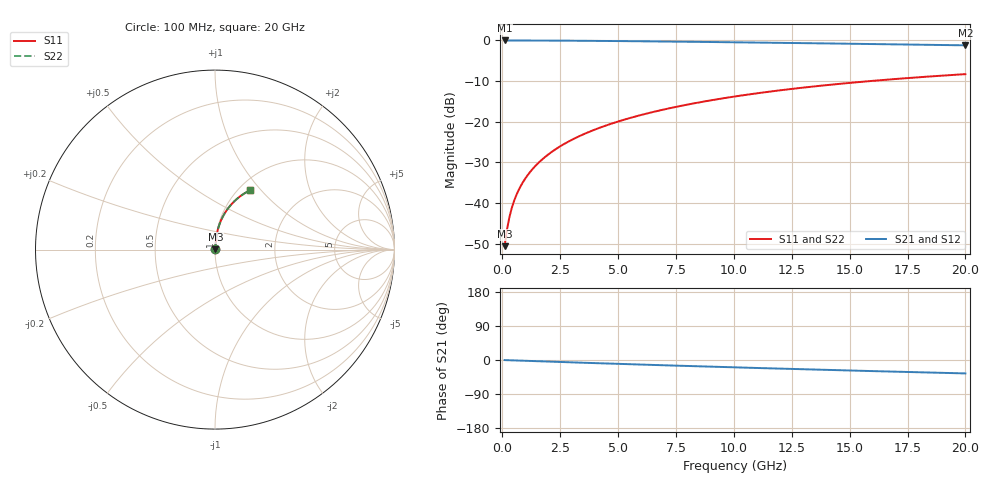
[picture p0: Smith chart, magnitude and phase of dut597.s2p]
! Touchstone file exported from HFSS 2024.1.0
!  File:  C:/UserFiles/LocalFiles/RDL_TSV_Batchsim/temp_RDL_top_597_1779682729.aedt
!  Generated:  12:21:17 PM May 25, 2026
!  Design:  RDL_top
!  Project:  temp_RDL_top_597_1779682729
!  Setup:  Setup1
!  Solution:  Sweep
! Variables:
!  dtsv = 10.80580581um
!  hbump = 3um
!  htsv = 62.18um
!  ldown = 100um
!  lrdl = 450.6um
!  p = 40
!  p1 = 57.33um
!  rhole = 1um
!  t = 450um
!  tdown = 3.915915916um
!  trdl = 4.53um
!  wdown = 15.38538539um
!  wrdl = 18.04um
# GHz S MA R 50.000000
! Terminal data exported
! Port[1] = Box2_T1
! Port[2] = Box2_T2
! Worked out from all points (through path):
!   200 points, 100 MHz to 20 GHz, reference 50 ohm
!   highest |S21| = -0.02 dB at 100 MHz (marker M1); lowest = -1.2 dB at 20 GHz (marker M2)
!   group delay of S21, straight-line fit = 4.89 ps
!   lowest |S11| = -50.6 dB at 100 MHz (marker M3), VSWR 1.01, Z = 50.2 + j0.21 ohm
!   |S11| at or under -10 dB: start of sweep to 15.89 GHz
!   |S22| runs from -50.6 to -8.3 dB; largest |S21 - S12| = 6.2e-15
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0.1  0.002953 45.1  0.9979 -0.2  0.9979 -0.2  0.002953 45.1
! Gamma 0 0 0 0
! Port Impedance 50 0 50 0
0.2  0.004683 62.5  0.9978 -0.4  0.9978 -0.4  0.004683 62.5
0.3  0.006582 70.0  0.9977 -0.6  0.9977 -0.6  0.006583 70.0
0.4  0.008515 73.9  0.9976 -0.9  0.9976 -0.9  0.008515 73.9
0.5  0.01045 76.4  0.9975 -1.1  0.9975 -1.1  0.01045 76.4
0.7  0.01433 79.4  0.9972 -1.5  0.9972 -1.5  0.01433 79.4
0.8  0.01628 80.4  0.9971 -1.7  0.9971 -1.7  0.01628 80.4
1  0.02018 81.7  0.9968 -2.1  0.9968 -2.1  0.02018 81.7
1.2  0.02409 82.6  0.9964 -2.5  0.9964 -2.5  0.02409 82.6
1.4  0.02802 83.2  0.996 -2.9  0.996 -2.9  0.02802 83.2
1.7  0.03394 83.8  0.9953 -3.6  0.9953 -3.6  0.03394 83.8
2  0.03989 84.1  0.9945 -4.2  0.9945 -4.2  0.03989 84.1
2.7  0.05386 84.3  0.9921 -5.6  0.9921 -5.6  0.05386 84.3
3.5  0.06997 83.9  0.9888 -7.2  0.9888 -7.2  0.06997 83.9
4.2  0.08419 83.4  0.9854 -8.6  0.9854 -8.6  0.08418 83.4
5  0.1006 82.6  0.981 -10.2  0.981 -10.2  0.1006 82.6
6.8  0.1377 80.4  0.97 -13.6  0.97 -13.6  0.1377 80.3
8.4  0.1708 78.0  0.9593 -16.5  0.9593 -16.5  0.1708 78.0
10.1  0.2055 75.3  0.9472 -19.5  0.9472 -19.5  0.2055 75.3
13.4  0.2704 69.9  0.9223 -25.1  0.9223 -25.1  0.2704 69.9
16.7  0.3304 64.5  0.8961 -30.4  0.8961 -30.4  0.3303 64.5
20  0.3845 59.4  0.8692 -35.4  0.8692 -35.4  0.3845 59.4
